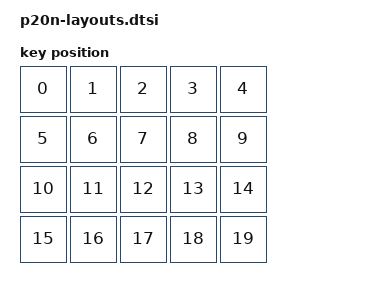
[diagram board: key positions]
#include <physical_layouts.dtsi>

/ {
    physical_layout0: physical_layout_0 {
        compatible = "zmk,physical-layout";
        display-name = "X.Tips P20n";

        kscan = <&kscan0>;
        transform = <&default_transform>;

        keys  //                     w   h    x    y     rot    rx    ry
            = <&key_physical_attrs 100 100    0    0       0     0     0>
            , <&key_physical_attrs 100 100  100    0       0     0     0>
            , <&key_physical_attrs 100 100  200    0       0     0     0>
            , <&key_physical_attrs 100 100  300    0       0     0     0>
            , <&key_physical_attrs 100 100  400    0       0     0     0>

            , <&key_physical_attrs 100 100    0  100       0     0     0>
            , <&key_physical_attrs 100 100  100  100       0     0     0>
            , <&key_physical_attrs 100 100  200  100       0     0     0>
            , <&key_physical_attrs 100 100  300  100       0     0     0>
            , <&key_physical_attrs 100 100  400  100       0     0     0>

            , <&key_physical_attrs 100 100    0  200       0     0     0>
            , <&key_physical_attrs 100 100  100  200       0     0     0>
            , <&key_physical_attrs 100 100  200  200       0     0     0>
            , <&key_physical_attrs 100 100  300  200       0     0     0>
            , <&key_physical_attrs 100 100  400  200       0     0     0>

            , <&key_physical_attrs 100 100    0  300       0     0     0>
            , <&key_physical_attrs 100 100  100  300       0     0     0>
            , <&key_physical_attrs 100 100  200  300       0     0     0>
            , <&key_physical_attrs 100 100  300  300       0     0     0>
            , <&key_physical_attrs 100 100  400  300       0     0     0>
            ;
    };
};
